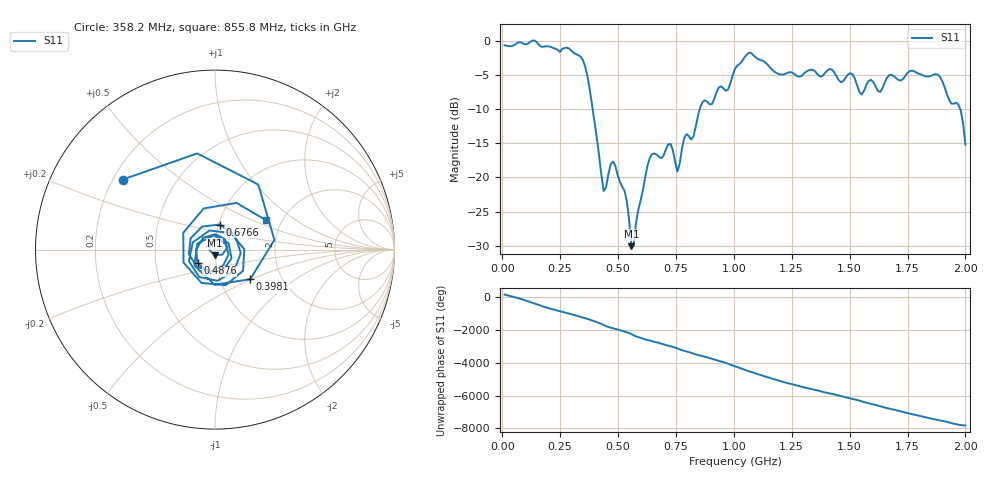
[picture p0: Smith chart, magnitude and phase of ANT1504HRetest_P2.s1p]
!Created with skrf (http://scikit-rf.org).
# Hz S RI R 50.0
!freq ReS11 ImS11
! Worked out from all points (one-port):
!   201 points, 10 MHz to 2 GHz, reference 50 ohm
!   lowest |S11| = -30.1 dB at 557.2 MHz (marker M1), VSWR 1.06, Z = 49.6 - j3.11 ohm
!   |S11| at or under -10 dB: 390.3 MHz to 852.9 MHz (462.6 MHz wide, 74.4 % of centre); 1.978 GHz to end of sweep
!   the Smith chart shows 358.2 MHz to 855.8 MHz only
!   S11 on the Smith chart (normalised r, x): 358.2 MHz: 0.24, +0.32; 398.1 MHz: 1.39, -0.49; 487.6 MHz: 0.81, -0.12; 676.6 MHz: 1.01, +0.29; 855.8 MHz: 1.66, +0.61
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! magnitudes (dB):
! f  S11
! 10 MHz  -0.7
! 258.8 MHz  -1.2
! 358.2 MHz  -3.8
! 398.1 MHz  -11.8
! 437.9 MHz  -22.0
! 467.7 MHz  -18.1
! 487.6 MHz  -18.2
! 507.5 MHz  -20.6
! 537.4 MHz  -23.3
! 557.2 MHz  -30.1
! 567.2 MHz  -30.0
! 636.9 MHz  -17.1
! 676.6 MHz  -17.0
! 726.4 MHz  -15.1
! 756.2 MHz  -19.1
! 786.1 MHz  -14.2
! 825.9 MHz  -14.0
! 855.8 MHz  -9.6
! 975.1 MHz  -7.1
! 1.005 GHz  -4.1
! 1.075 GHz  -1.8
! 1.254 GHz  -4.7
! 1.502 GHz  -4.7
! 1.552 GHz  -7.9
! 1.751 GHz  -4.7
! 1.891 GHz  -5.3
! 1.98 GHz  -10.2
! 2 GHz  -15.2
